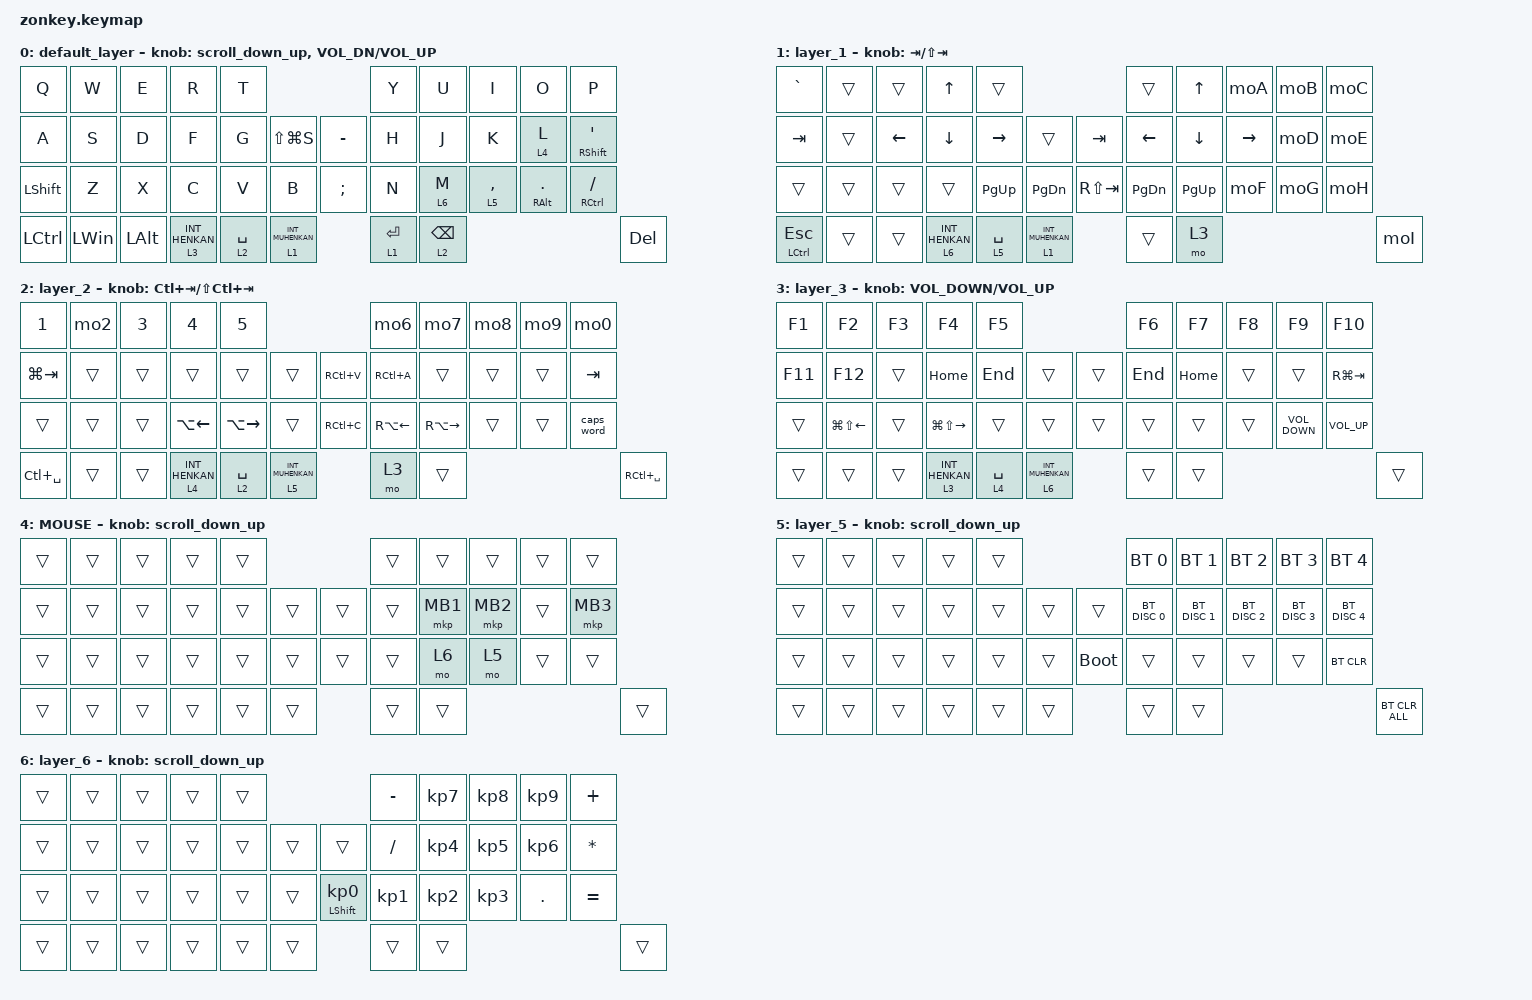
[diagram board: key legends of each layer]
#include <physical_layouts.dtsi>
#include <behaviors.dtsi>
#include <dt-bindings/zmk/bt.h>
#include <dt-bindings/zmk/keys.h>
#include <dt-bindings/zmk/pointing.h>

#define ZMK_POINTING_DEFAULT_SCRL_VAL 100
#define DFb 0
#define JIS 1
#define BT 4
#define MOUSE 6
#define JP_DQUOTE       AT                // "
#define JP_AMPERSAND    CARET             // &
#define JP_QUOTE        AMPERSAND         // '
#define JP_EQUAL        UNDER             // =
#define JP_CARET        EQUAL             // ^
#define JP_YEN          0x89              // ¥
#define JP_PLUS         COLON             // +
#define JP_TILDE        PLUS              // ~
#define JP_PIPE         LS(0x89)          // |
#define JP_AT           LEFT_BRACKET      // @
#define JP_COLON        SINGLE_QUOTE      // :
#define JP_ASTERISK     DOUBLE_QUOTES     // *
#define JP_BACKQUOTE    LEFT_BRACE        // `
#define JP_UNDERSCORE   LS(0x87)          // _
#define JP_LBRACKET     RIGHT_BRACKET     // [
#define JP_RBRACKET     BACKSLASH         // ]
#define JP_LPAREN       ASTERISK          // (
#define JP_RPAREN       LEFT_PARENTHESIS  // )
#define JP_LBRACE       RIGHT_BRACE       // {
#define JP_RBRACE       PIPE              // }
#define JP_KANA         LANGUAGE_1        // かな
#define JP_EISU         LANGUAGE_2        // 英数
#define JP_HANZEN       GRAVE             // 半角/全角
#define JP_BSLH  INT1         // (backslash)

&mt {
    flavor = "balanced";
    quick-tap-ms = <0>;
};

/ {
    combos { compatible = "zmk,combos"; };

    macros {
        to_layer_0: to_layer_0 {
            compatible = "zmk,behavior-macro-one-param";
            #binding-cells = <1>;
            bindings = <&to 0 &macro_param_1to1 &kp MACRO_PLACEHOLDER>;
            label = "TO_LAYER_0";
        };
    };

    behaviors {
        lt_to_layer_0: lt_to_layer_0 {
            compatible = "zmk,behavior-hold-tap";
            label = "LAYER_TAP_TO_0";
            bindings = <&mo>, <&to_layer_0>;

            #binding-cells = <2>;
            tapping-term-ms = <200>;
        };

        mo2: mo2 {
            compatible = "zmk,behavior-mod-morph";
            #binding-cells = <0>;
            bindings = <&kp N2>, <&kp AT>;

            mods = <(MOD_LSFT|MOD_RSFT)>;
        };

        mo6: mo6 {
            compatible = "zmk,behavior-mod-morph";
            #binding-cells = <0>;
            bindings = <&kp N6>, <&kp CARET>;

            mods = <(MOD_LSFT|MOD_RSFT)>;
        };

        mo7: mo7 {
            compatible = "zmk,behavior-mod-morph";
            #binding-cells = <0>;
            bindings = <&kp N7>, <&kp AMPS>;

            mods = <(MOD_LSFT|MOD_RSFT)>;
        };

        mo8: mo8 {
            compatible = "zmk,behavior-mod-morph";
            #binding-cells = <0>;
            bindings = <&kp N8>, <&kp ASTRK>;

            mods = <(MOD_LSFT|MOD_RSFT)>;
        };

        mo9: mo9 {
            compatible = "zmk,behavior-mod-morph";
            #binding-cells = <0>;
            bindings = <&kp N9>, <&kp LPAR>;

            mods = <(MOD_LSFT|MOD_RSFT)>;
        };

        mo0: mo0 {
            compatible = "zmk,behavior-mod-morph";
            #binding-cells = <0>;
            bindings = <&kp N0>, <&kp LS(N9)>;

            mods = <(MOD_LSFT|MOD_RSFT)>;
        };

        moA: moA {
            compatible = "zmk,behavior-mod-morph";
            #binding-cells = <0>;
            bindings = <&kp MINUS>, <&kp UNDERSCORE>;

            mods = <(MOD_LSFT|MOD_RSFT)>;
        };

        moB: moB {
            compatible = "zmk,behavior-mod-morph";
            #binding-cells = <0>;
            bindings = <&kp EQUAL>, <&kp PLUS>;

            mods = <(MOD_LSFT|MOD_RSFT)>;
        };

        moC: moC {
            compatible = "zmk,behavior-mod-morph";
            #binding-cells = <0>;
            bindings = <&kp INT3>, <&kp JP_PIPE>;

            mods = <(MOD_LSFT|MOD_RSFT)>;
        };

        moD: moD {
            compatible = "zmk,behavior-mod-morph";
            #binding-cells = <0>;
            bindings = <&kp LBKT>, <&kp LBRC>;

            mods = <(MOD_LSFT|MOD_RSFT)>;
        };

        moE: moE {
            compatible = "zmk,behavior-mod-morph";
            #binding-cells = <0>;
            bindings = <&kp RBKT>, <&kp RBRC>;

            mods = <(MOD_LSFT|MOD_RSFT)>;
        };

        moF: moF {
            compatible = "zmk,behavior-mod-morph";
            #binding-cells = <0>;
            bindings = <&kp SEMI>, <&kp KP_PLUS>;

            mods = <(MOD_LSFT|MOD_RSFT)>;
        };

        moG: moG {
            compatible = "zmk,behavior-mod-morph";
            #binding-cells = <0>;
            bindings = <&kp APOSTROPHE>, <&kp DQT>;

            mods = <(MOD_LSFT|MOD_RSFT)>;
        };

        moH: moH {
            compatible = "zmk,behavior-mod-morph";
            #binding-cells = <0>;
            bindings = <&kp BACKSLASH>, <&kp TILDE2>;

            mods = <(MOD_LSFT|MOD_RSFT)>;
        };

        moI: moI {
            compatible = "zmk,behavior-mod-morph";
            #binding-cells = <0>;
            bindings = <&kp JP_BSLH>, <&kp JP_UNDERSCORE>;

            mods = <(MOD_LSFT|MOD_RSFT)>;
        };

        scroll_up_down: behavior_sensor_rotate_mouse_wheel_up_down {
            compatible = "zmk,behavior-sensor-rotate";
            #sensor-binding-cells = <0>;
            bindings = <&msc SCRL_UP>, <&msc SCRL_DOWN>;

            tap-ms = <20>;
        };

        scroll_down_up: behavior_sensor_rotate_mouse_wh {
            compatible = "zmk,behavior-sensor-rotate";
            #sensor-binding-cells = <0>;
            bindings = <&msc SCRL_DOWN>, <&msc SCRL_UP>;

            tap-ms = <20>;
        };
    };

    keymap {
        compatible = "zmk,keymap";

        default_layer {
            bindings = <
&kp Q           &kp W         &kp E         &kp R             &kp T                                             &kp Y        &kp U            &kp I        &kp O              &kp P
&kp A           &kp S         &kp D         &kp F             &kp G        &kp LS(LG(S))         &kp MINUS      &kp H        &kp J            &kp K        &lt 4 L            &mt RIGHT_SHIFT SQT
&kp LEFT_SHIFT  &kp Z         &kp X         &kp C             &kp V        &kp B                 &kp SEMICOLON  &kp N        &lt 6 M          &lt 5 COMMA  &mt RIGHT_ALT DOT  &mt RCTRL SLASH
&kp LCTRL       &kp LEFT_WIN  &kp LEFT_ALT  &lt 3 INT_HENKAN  &lt 2 SPACE  &lt 1 INT_MUHENKAN                   &lt 1 ENTER  &lt 2 BACKSPACE                                                       &kp DEL
            >;

            sensor-bindings =
                <&scroll_down_up>,
                <&inc_dec_kp C_VOL_DN C_VOL_UP>;
        };

        layer_1 {
            bindings = <
&kp JP_HANZEN  &trans  &trans          &kp UP_ARROW      &trans                                              &trans          &kp UP_ARROW    &moA             &moB  &moC
&kp TAB        &trans  &kp LEFT_ARROW  &kp DOWN_ARROW    &kp RIGHT_ARROW  &trans                &kp TAB      &kp LEFT_ARROW  &kp DOWN_ARROW  &kp RIGHT_ARROW  &moD  &moE
&trans         &trans  &trans          &trans            &kp PAGE_UP      &kp PAGE_DOWN         &kp RS(TAB)  &kp PAGE_DOWN   &kp PAGE_UP     &moF             &moG  &moH
&mt LCTL ESC   &trans  &trans          &lt 6 INT_HENKAN  &lt 5 SPACE      &lt 1 INT_MUHENKAN                 &trans          &mo 3                                        &moI
            >;

            sensor-bindings = <&inc_dec_kp TAB LS(TAB)>;
        };

        layer_2 {
            bindings = <
&kp N1         &mo2    &kp N3  &kp N4              &kp N5                                                &mo6                &mo7                 &mo8    &mo9    &mo0
&kp LG(TAB)    &trans  &trans  &trans              &trans               &trans                &kp RC(V)  &kp RC(A)           &trans               &trans  &trans  &kp TAB
&trans         &trans  &trans  &kp LA(LEFT_ARROW)  &kp LA(RIGHT_ARROW)  &trans                &kp RC(C)  &kp RA(LEFT_ARROW)  &kp RA(RIGHT_ARROW)  &trans  &trans  &caps_word
&kp LC(SPACE)  &trans  &trans  &lt 4 INT_HENKAN    &lt 2 SPACE          &lt 5 INT_MUHENKAN               &mo 3               &trans                                           &kp RC(SPACE)
            >;

            sensor-bindings = <&inc_dec_kp LC(TAB) LS(LC(TAB))>;
        };

        layer_3 {
            bindings = <
&kp F1   &kp F2                  &kp F3  &kp F4                   &kp F5                                     &kp F6   &kp F7    &kp F8  &kp F9             &kp F10
&kp F11  &kp F12                 &trans  &kp HOME                 &kp END      &trans                &trans  &kp END  &kp HOME  &trans  &trans             &kp RG(TAB)
&trans   &kp LG(LS(LEFT_ARROW))  &trans  &kp LG(LS(RIGHT_ARROW))  &trans       &trans                &trans  &trans   &trans    &trans  &kp C_VOLUME_DOWN  &kp C_VOLUME_UP
&trans   &trans                  &trans  &lt 3 INT_HENKAN         &lt 4 SPACE  &lt 6 INT_MUHENKAN            &trans   &trans                                                &trans
            >;

            sensor-bindings = <&inc_dec_kp C_VOLUME_DOWN C_VOLUME_UP>;
        };

        MOUSE {
            bindings = <
&trans  &trans  &trans  &trans  &trans                    &trans  &trans    &trans    &trans  &trans
&trans  &trans  &trans  &trans  &trans  &trans    &trans  &trans  &mkp MB1  &mkp MB2  &trans  &mkp MB3
&trans  &trans  &trans  &trans  &trans  &trans    &trans  &trans  &mo 6     &mo 5     &trans  &trans
&trans  &trans  &trans  &trans  &trans  &trans            &trans  &trans                                &trans
            >;

            sensor-bindings = <&scroll_down_up>;
        };

        layer_5 {
            bindings = <
&trans  &trans  &trans  &trans  &trans                         &bt BT_SEL 0   &bt BT_SEL 1   &bt BT_SEL 2   &bt BT_SEL 3   &bt BT_SEL 4
&trans  &trans  &trans  &trans  &trans  &trans    &trans       &bt BT_DISC 0  &bt BT_DISC 1  &bt BT_DISC 2  &bt BT_DISC 3  &bt BT_DISC 4
&trans  &trans  &trans  &trans  &trans  &trans    &bootloader  &trans         &trans         &trans         &trans         &bt BT_CLR
&trans  &trans  &trans  &trans  &trans  &trans                 &trans         &trans                                                      &bt BT_CLR_ALL
            >;

            sensor-bindings = <&scroll_down_up>;
        };

        layer_6 {
            bindings = <
&trans  &trans  &trans  &trans  &trans                                        &kp MINUS        &kp KP_NUMBER_7  &kp KP_NUMBER_8  &kp KP_NUMBER_9  &kp PLUS
&trans  &trans  &trans  &trans  &trans  &trans    &trans                      &kp SLASH        &kp KP_NUMBER_4  &kp KP_NUMBER_5  &kp KP_NUMBER_6  &kp ASTERISK
&trans  &trans  &trans  &trans  &trans  &trans    &mt LEFT_SHIFT KP_NUMBER_0  &kp KP_NUMBER_1  &kp KP_NUMBER_2  &kp KP_NUMBER_3  &kp PERIOD       &kp EQUAL
&trans  &trans  &trans  &trans  &trans  &trans                                &trans           &trans                                                           &trans
            >;

            sensor-bindings = <&scroll_down_up>;
        };
    };
};
